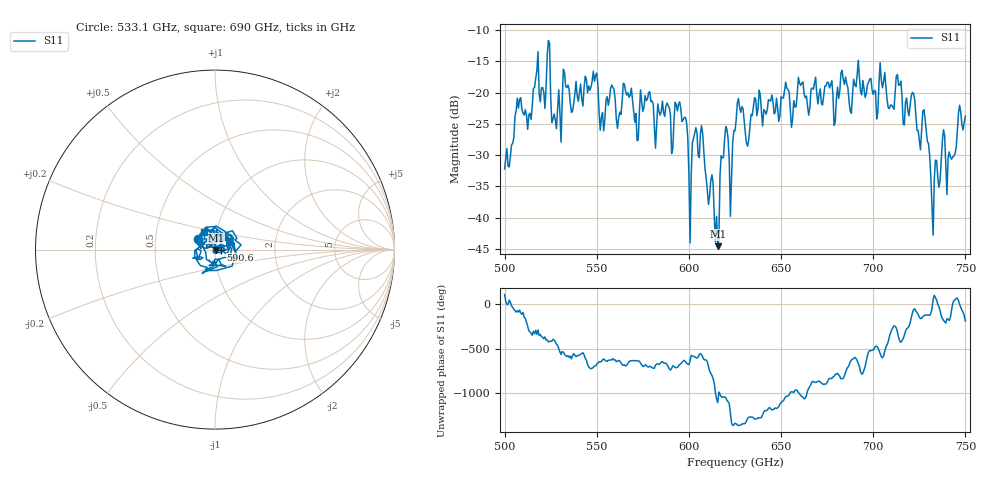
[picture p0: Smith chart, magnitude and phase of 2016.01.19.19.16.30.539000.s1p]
!Created with skrf (http://scikit-rf.org).
# GHz S RI R 50.0
!freq ReS11 ImS11
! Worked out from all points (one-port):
!   401 points, 500 GHz to 750 GHz, reference 50 ohm
!   lowest |S11| = -44.5 dB at 615.6 GHz (marker M1), VSWR 1.01, Z = 50.5 - j0.266 ohm
!   |S11| at or under -10 dB: start of sweep to end of sweep
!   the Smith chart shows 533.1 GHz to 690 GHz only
!   S11 on the Smith chart (normalised r, x): 533.1 GHz: 0.82, +0.10; 590.6 GHz: 1.07, -0.00; 690 GHz: 0.87, +0.17
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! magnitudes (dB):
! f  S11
! 500 GHz  -32.2
! 516.9 GHz  -17.7
! 523.8 GHz  -11.7
! 526.9 GHz  -23.4
! 531.2 GHz  -21.2
! 533.1 GHz  -19.0
! 562.5 GHz  -23.1
! 565.6 GHz  -19.8
! 571.2 GHz  -23.3
! 577.5 GHz  -21.1
! 590.6 GHz  -29.7
! 593.8 GHz  -22.9
! 598.1 GHz  -24.0
! 600.6 GHz  -44.0
! 603.1 GHz  -26.6
! 607.5 GHz  -26.7
! 615.6 GHz  -44.5
! 618.8 GHz  -30.3
! 623.1 GHz  -33.5
! 625 GHz  -26.1
! 656.2 GHz  -24.3
! 660.6 GHz  -18.9
! 687.5 GHz  -23.0
! 690 GHz  -18.8
! 718.8 GHz  -22.8
! 728.1 GHz  -24.2
! 732.5 GHz  -42.8
! 750 GHz  -23.8
